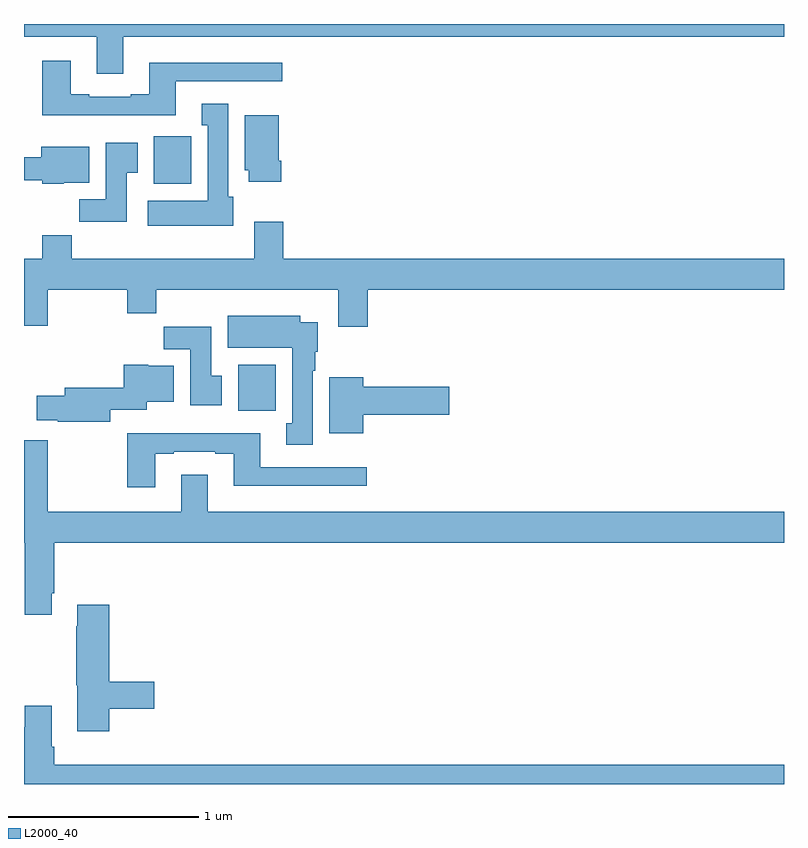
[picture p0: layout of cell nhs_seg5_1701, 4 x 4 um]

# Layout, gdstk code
import gdstk
lib = gdstk.Library(unit=1e-6, precision=1e-09)
def R(c, l, rs):  # rectangles x0, y0, x1, y1
    for r in rs: c.add(gdstk.rectangle(r[:2], r[2:], *l))
def P(c, l, *ps):  # polygons
    for p in ps: c.add(gdstk.Polygon(p, *l))
L2000_40 = (2000, 40)

nhs_seg5_1701 = lib.new_cell('nhs_seg5_1701')
R(nhs_seg5_1701, L2000_40, [(214.127,882.764,214.324,883.006), (213.683,883.958,213.879,884.209)])
P(nhs_seg5_1701, L2000_40, [(213.523,884.732),(217,884.732),(217,884.799),(213,884.799),(213,884.732),(213.383,884.732),(213.383,884.538),(213.523,884.538)],
  [(213.799,884.499),(214.36,884.499),(214.36,884.596),(213.659,884.596),(213.659,884.428),(213.563,884.428),(213.563,884.415),(213.343,884.415),(213.343,884.428),(213.247,884.428),(213.247,884.605),(213.095,884.605),(213.095,884.318),(213.799,884.318)],
  [(214.102,883.89),(214.075,883.89),(214.075,884.38),(213.935,884.38),(213.935,884.267),(213.968,884.267),(213.968,883.87),(213.651,883.87),(213.651,883.736),(214.102,883.736)],
  [(214.355,884.08),(214.342,884.08),(214.342,884.32),(214.163,884.32),(214.163,884.028),(214.184,884.028),(214.184,883.968),(214.355,883.968)],
  [(213.541,884.017),(213.598,884.017),(213.598,884.173),(213.431,884.173),(213.431,883.876),(213.292,883.876),(213.292,883.758),(213.541,883.758)],
  [(213.21,883.964),(213.343,883.964),(213.343,884.152),(213.092,884.152),(213.092,884.098),(213,884.098),(213,883.976),(213.096,883.976),(213.096,883.958),(213.21,883.958)],
  [(214.808,883.4),(217,883.4),(217,883.564),(214.364,883.564),(214.364,883.759),(214.211,883.759),(214.211,883.564),(213.251,883.564),(213.251,883.688),(213.095,883.688),(213.095,883.564),(213,883.564),(213,883.212),(213.124,883.212),(213.124,883.4),(213.544,883.4),(213.544,883.276),(213.695,883.276),(213.695,883.4),(214.655,883.4),(214.655,883.206),(214.808,883.206)],
  [(214.519,882.974),(214.534,882.974),(214.534,883.074),(214.546,883.074),(214.546,883.228),(214.453,883.228),(214.453,883.264),(214.073,883.264),(214.073,883.094),(214.412,883.094),(214.412,882.698),(214.379,882.698),(214.379,882.585),(214.519,882.585)],
  [(214.042,882.948),(213.985,882.948),(213.985,883.206),(213.736,883.206),(213.736,883.088),(213.875,883.088),(213.875,882.792),(214.042,882.792)],
  [(213.454,882.768),(213.646,882.768),(213.646,882.812),(213.787,882.812),(213.787,883),(213.654,883),(213.654,883.006),(213.524,883.006),(213.524,882.884),(213.215,882.884),(213.215,882.843),(213.066,882.843),(213.066,882.713),(213.178,882.713),(213.178,882.706),(213.454,882.706)],
  [(214.786,882.743),(215.239,882.743),(215.239,882.89),(214.786,882.89),(214.786,882.94),(214.607,882.94),(214.607,882.644),(214.786,882.644)],
  [(213.691,882.537),(213.787,882.537),(213.787,882.549),(214.007,882.549),(214.007,882.537),(214.103,882.537),(214.103,882.368),(214.804,882.368),(214.804,882.465),(214.243,882.465),(214.243,882.646),(213.544,882.646),(213.544,882.36),(213.691,882.36)],
  [(213.124,882.607),(213,882.607),(213,882.068),(213.005,882.068),(213.005,881.691),(213.145,881.691),(213.145,881.803),(213.158,881.803),(213.158,882.068),(217,882.068),(217,882.232),(213.967,882.232),(213.967,882.427),(213.827,882.427),(213.827,882.232),(213.124,882.232)],
  [(213.449,881.194),(213.685,881.194),(213.685,881.336),(213.449,881.336),(213.449,881.743),(213.281,881.743),(213.281,881.63),(213.274,881.63),(213.274,881.319),(213.281,881.319),(213.281,881.076),(213.449,881.076)],
  [(217,880.9),(213.158,880.9),(213.158,880.996),(213.145,880.996),(213.145,881.212),(213.005,881.212),(213.005,881.099),(213,881.099),(213,880.799),(217,880.799)])

lib.write_gds('nhs_seg5_1701.gds')
